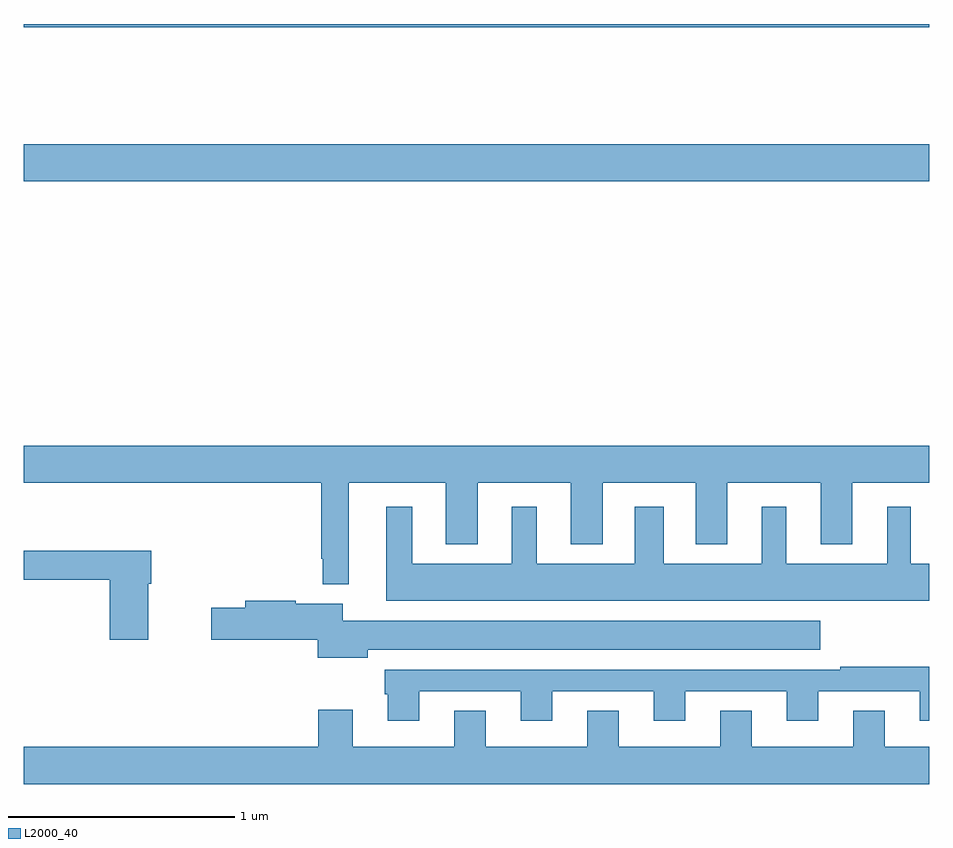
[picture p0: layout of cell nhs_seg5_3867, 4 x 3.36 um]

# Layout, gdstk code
import gdstk
lib = gdstk.Library(unit=1e-6, precision=1e-09)
def R(c, l, rs):  # rectangles x0, y0, x1, y1
    for r in rs: c.add(gdstk.rectangle(r[:2], r[2:], *l))
def P(c, l, *ps):  # polygons
    for p in ps: c.add(gdstk.Polygon(p, *l))
L2000_40 = (2000, 40)

nhs_seg5_3867 = lib.new_cell('nhs_seg5_3867')
R(nhs_seg5_3867, L2000_40, [(339,846.104,343,846.268), (339,846.784,343,846.799)])
P(nhs_seg5_3867, L2000_40, [(339,844.772),(340.314,844.772),(340.314,844.435),(340.321,844.435),(340.321,844.323),(340.435,844.323),(340.435,844.772),(340.865,844.772),(340.865,844.499),(341.005,844.499),(341.005,844.772),(341.417,844.772),(341.417,844.499),(341.557,844.499),(341.557,844.772),(341.969,844.772),(341.969,844.499),(342.109,844.499),(342.109,844.772),(342.521,844.772),(342.521,844.499),(342.661,844.499),(342.661,844.772),(343,844.772),(343,844.936),(339,844.936)],
  [(343,844.414),(342.919,844.414),(342.919,844.666),(342.815,844.666),(342.815,844.414),(342.37,844.414),(342.37,844.666),(342.26,844.666),(342.26,844.414),(341.827,844.414),(341.827,844.666),(341.699,844.666),(341.699,844.414),(341.266,844.414),(341.266,844.666),(341.156,844.666),(341.156,844.414),(340.717,844.414),(340.717,844.666),(340.601,844.666),(340.601,844.25),(343,844.25)],
  [(339.55,844.325),(339.563,844.325),(339.563,844.471),(339,844.471),(339,844.342),(339.38,844.342),(339.38,844.077),(339.55,844.077)],
  [(340.519,844.034),(342.52,844.034),(342.52,844.162),(340.408,844.162),(340.408,844.237),(340.202,844.237),(340.202,844.25),(339.977,844.25),(339.977,844.22),(339.828,844.22),(339.828,844.078),(340.298,844.078),(340.298,843.998),(340.519,843.998)],
  [(340.747,843.849),(341.195,843.849),(341.195,843.72),(341.335,843.72),(341.335,843.849),(341.783,843.849),(341.783,843.72),(341.923,843.72),(341.923,843.849),(342.371,843.849),(342.371,843.72),(342.511,843.72),(342.511,843.849),(342.959,843.849),(342.959,843.72),(343,843.72),(343,843.958),(342.607,843.958),(342.607,843.945),(340.595,843.945),(340.595,843.837),(340.607,843.837),(340.607,843.72),(340.747,843.72)],
  [(343,843.604),(342.805,843.604),(342.805,843.764),(342.665,843.764),(342.665,843.604),(342.217,843.604),(342.217,843.764),(342.077,843.764),(342.077,843.604),(341.629,843.604),(341.629,843.764),(341.489,843.764),(341.489,843.604),(341.041,843.604),(341.041,843.764),(340.901,843.764),(340.901,843.604),(340.453,843.604),(340.453,843.769),(340.301,843.769),(340.301,843.604),(339,843.604),(339,843.44),(343,843.44)])

lib.write_gds('nhs_seg5_3867.gds')
